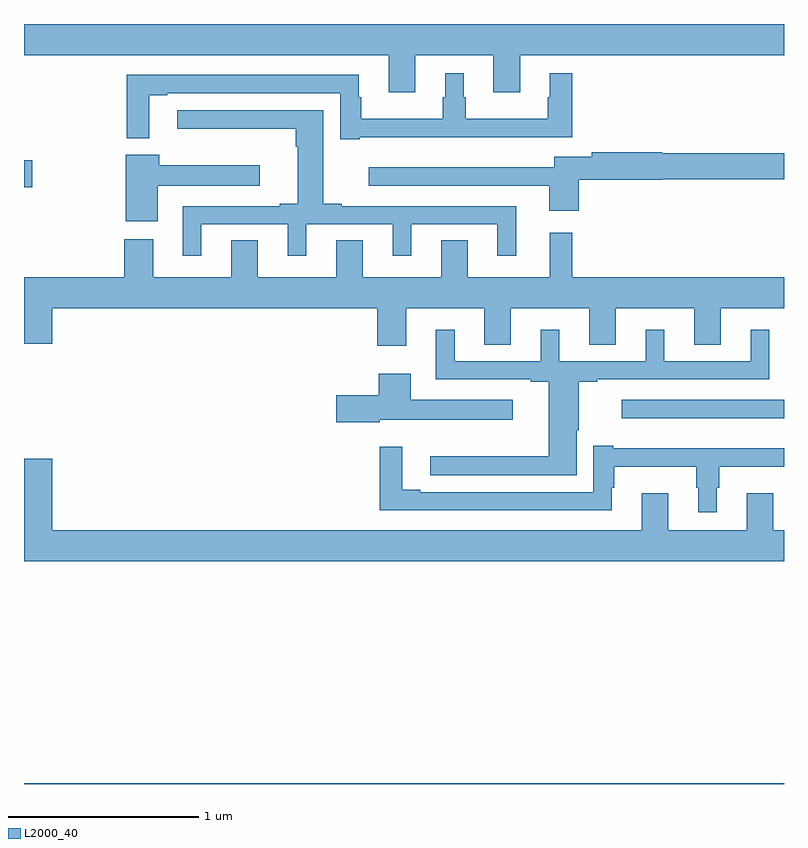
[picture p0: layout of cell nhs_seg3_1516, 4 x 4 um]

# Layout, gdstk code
import gdstk
lib = gdstk.Library(unit=1e-6, precision=1e-09)
def R(c, l, rs):  # rectangles x0, y0, x1, y1
    for r in rs: c.add(gdstk.rectangle(r[:2], r[2:], *l))
def P(c, l, *ps):  # polygons
    for p in ps: c.add(gdstk.Polygon(p, *l))
L2000_40 = (2000, 40)

nhs_seg3_1516 = lib.new_cell('nhs_seg3_1516')
R(nhs_seg3_1516, L2000_40, [(189,710.4,193,710.404), (192.147,712.325,193,712.422), (189,713.542,189.043,713.684)])
P(nhs_seg3_1516, L2000_40, [(191.059,714.236),(191.471,714.236),(191.471,714.042),(191.611,714.042),(191.611,714.236),(193,714.236),(193,714.4),(189,714.4),(189,714.236),(190.919,714.236),(190.919,714.042),(191.059,714.042)],
  [(190.768,713.804),(191.885,713.804),(191.885,714.142),(191.768,714.142),(191.768,714.014),(191.757,714.014),(191.757,713.902),(191.326,713.902),(191.326,714.014),(191.314,714.014),(191.314,714.142),(191.216,714.142),(191.216,714.014),(191.205,714.014),(191.205,713.902),(190.774,713.902),(190.774,714.014),(190.762,714.014),(190.762,714.132),(189.541,714.132),(189.541,713.799),(189.658,713.799),(189.658,714.024),(189.754,714.024),(189.754,714.036),(190.665,714.036),(190.665,713.793),(190.768,713.793)],
  [(189.934,713.346),(190.388,713.346),(190.388,713.181),(190.486,713.181),(190.486,713.346),(190.94,713.346),(190.94,713.181),(191.038,713.181),(191.038,713.346),(191.492,713.346),(191.492,713.181),(191.591,713.181),(191.591,713.442),(190.672,713.442),(190.672,713.455),(190.576,713.455),(190.576,713.946),(189.807,713.946),(189.807,713.849),(190.43,713.849),(190.43,713.753),(190.442,713.753),(190.442,713.455),(190.346,713.455),(190.346,713.442),(189.836,713.442),(189.836,713.181),(189.934,713.181)],
  [(191.921,713.579),(192.36,713.579),(192.36,713.584),(193,713.584),(193,713.72),(192.36,713.72),(192.36,713.726),(191.988,713.726),(191.988,713.701),(191.792,713.701),(191.792,713.647),(190.815,713.647),(190.815,713.55),(191.765,713.55),(191.765,713.418),(191.921,713.418)],
  [(189.703,713.549),(190.24,713.549),(190.24,713.656),(189.713,713.656),(189.713,713.713),(189.536,713.713),(189.536,713.361),(189.703,713.361)],
  [(191.011,712.904),(191.423,712.904),(191.423,712.711),(191.563,712.711),(191.563,712.904),(191.975,712.904),(191.975,712.711),(192.115,712.711),(192.115,712.904),(192.527,712.904),(192.527,712.711),(192.667,712.711),(192.667,712.904),(193,712.904),(193,713.068),(191.885,713.068),(191.885,713.302),(191.768,713.302),(191.768,713.068),(191.335,713.068),(191.335,713.261),(191.195,713.261),(191.195,713.068),(190.783,713.068),(190.783,713.261),(190.643,713.261),(190.643,713.068),(190.231,713.068),(190.231,713.261),(190.091,713.261),(190.091,713.068),(189.679,713.068),(189.679,713.266),(189.527,713.266),(189.527,713.068),(189,713.068),(189,712.716),(189.148,712.716),(189.148,712.904),(190.859,712.904),(190.859,712.707),(191.011,712.707)],
  [(191.908,712.263),(191.92,712.263),(191.92,712.518),(192.016,712.518),(192.016,712.53),(192.923,712.53),(192.923,712.792),(192.824,712.792),(192.824,712.626),(192.37,712.626),(192.37,712.792),(192.272,712.792),(192.272,712.626),(191.818,712.626),(191.818,712.792),(191.72,712.792),(191.72,712.626),(191.266,712.626),(191.266,712.792),(191.168,712.792),(191.168,712.53),(191.666,712.53),(191.666,712.518),(191.762,712.518),(191.762,712.124),(191.139,712.124),(191.139,712.026),(191.908,712.026)],
  [(190.872,712.316),(191.572,712.316),(191.572,712.423),(191.035,712.423),(191.035,712.558),(190.868,712.558),(190.868,712.446),(190.644,712.446),(190.644,712.304),(190.872,712.304)],
  [(192.646,711.959),(192.658,711.959),(192.658,712.07),(193,712.07),(193,712.168),(192.1,712.168),(192.1,712.18),(191.997,712.18),(191.997,711.936),(191.086,711.936),(191.086,711.949),(190.99,711.949),(190.99,712.174),(190.873,712.174),(190.873,711.84),(192.094,711.84),(192.094,711.959),(192.106,711.959),(192.106,712.07),(192.537,712.07),(192.537,711.959),(192.548,711.959),(192.548,711.831),(192.646,711.831)],
  [(193,711.736),(192.943,711.736),(192.943,711.931),(192.803,711.931),(192.803,711.736),(192.391,711.736),(192.391,711.931),(192.251,711.931),(192.251,711.736),(189.148,711.736),(189.148,712.111),(189,712.111),(189,711.572),(193,711.572)])

lib.write_gds('nhs_seg3_1516.gds')
